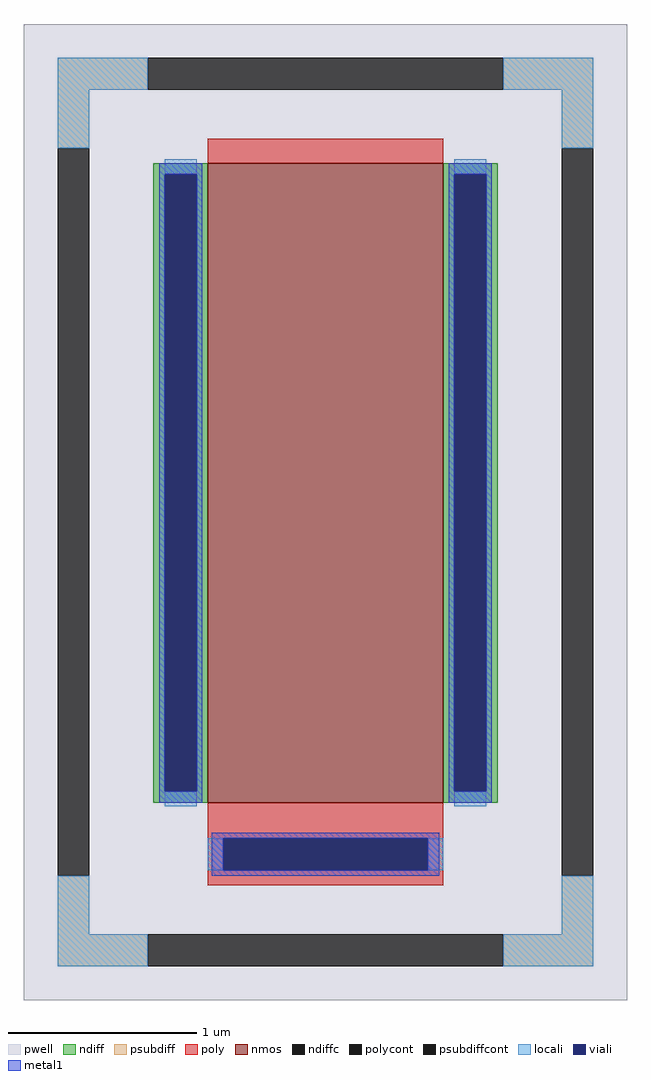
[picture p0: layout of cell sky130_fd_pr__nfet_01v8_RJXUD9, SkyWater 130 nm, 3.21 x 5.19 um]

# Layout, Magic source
magic
tech sky130A
magscale 1 2
<< pwell >>
rect -321 -519 321 519
<< nmos >>
rect -125 -309 125 371
<< ndiff >>
rect -183 359 -125 371
rect -183 -297 -171 359
rect -137 -297 -125 359
rect -183 -309 -125 -297
rect 125 359 183 371
rect 125 -297 137 359
rect 171 -297 183 359
rect 125 -309 183 -297
<< ndiffc >>
rect -171 -297 -137 359
rect 137 -297 171 359
<< psubdiff >>
rect -285 449 -189 483
rect 189 449 285 483
rect -285 387 -251 449
rect 251 387 285 449
rect -285 -449 -251 -387
rect 251 -449 285 -387
rect -285 -483 -189 -449
rect 189 -483 285 -449
<< psubdiffcont >>
rect -189 449 189 483
rect -285 -387 -251 387
rect 251 -387 285 387
rect -189 -483 189 -449
<< poly >>
rect -125 371 125 397
rect -125 -347 125 -309
rect -125 -381 -109 -347
rect 109 -381 125 -347
rect -125 -397 125 -381
<< polycont >>
rect -109 -381 109 -347
<< locali >>
rect -285 449 -189 483
rect 189 449 285 483
rect -285 387 -251 449
rect 251 387 285 449
rect -171 359 -137 375
rect -171 -313 -137 -297
rect 137 359 171 375
rect 137 -313 171 -297
rect -125 -381 -109 -347
rect 109 -381 125 -347
rect -285 -449 -251 -387
rect 251 -449 285 -387
rect -285 -483 -189 -449
rect 189 -483 285 -449
<< viali >>
rect -171 -297 -137 359
rect 137 -297 171 359
rect -109 -381 109 -347
<< metal1 >>
rect -177 359 -131 371
rect -177 -297 -171 359
rect -137 -297 -131 359
rect -177 -309 -131 -297
rect 131 359 177 371
rect 131 -297 137 359
rect 171 -297 177 359
rect 131 -309 177 -297
rect -121 -347 121 -341
rect -121 -381 -109 -347
rect 109 -381 121 -347
rect -121 -387 121 -381
<< properties >>
string FIXED_BBOX -268 -466 268 466
string gencell sky130_fd_pr__nfet_01v8
string library sky130
string parameters w 3.4 l 1.25 m 1 nf 1 diffcov 100 polycov 100 guard 1 glc 1 grc 1 gtc 1 gbc 1 tbcov 100 rlcov 100 topc 0 botc 1 poverlap 0 doverlap 1 lmin 0.15 wmin 0.42 class mosfet compatible {sky130_fd_pr__nfet_01v8 sky130_fd_pr__nfet_01v8_lvt  sky130_fd_bs_flash__special_sonosfet_star  sky130_fd_pr__nfet_g5v0d10v5 sky130_fd_pr__nfet_05v0_nvt  sky130_fd_pr__nfet_03v3_nvt} full_metal 1 viasrc 100 viadrn 100 viagate 100 viagb 0 viagr 0 viagl 0 viagt 0
<< end >>
